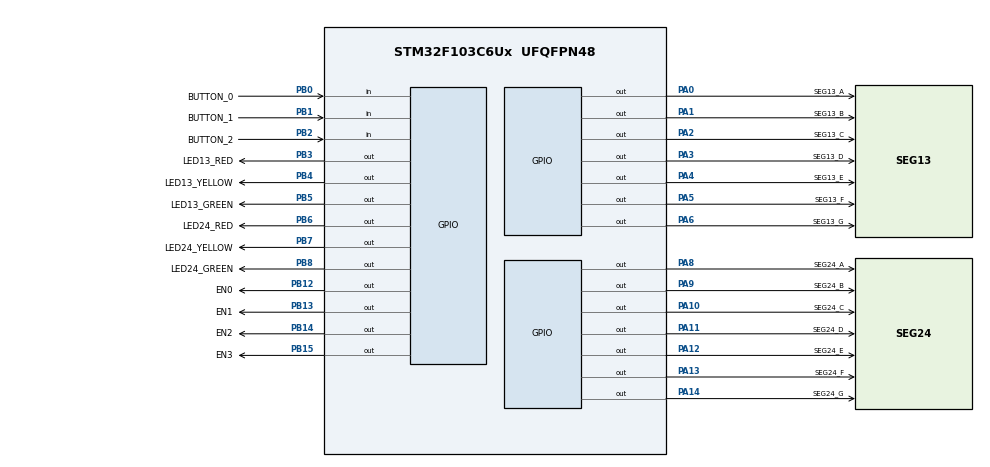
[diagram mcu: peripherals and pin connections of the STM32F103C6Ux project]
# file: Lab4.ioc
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Mcu.Family=STM32F1
Mcu.Name=STM32F103C6Ux
Mcu.Package=UFQFPN48
NVIC.PriorityGroup=NVIC_PRIORITYGROUP_4
NVIC.TIM2_IRQn=true\:0\:0\:false\:false\:true\:true\:true\:true
PA0-WKUP.GPIO_Label=SEG13_A
PA0-WKUP.Signal=GPIO_Output
PA1.GPIO_Label=SEG13_B
PA1.Signal=GPIO_Output
PA10.GPIO_Label=SEG24_C
PA10.Signal=GPIO_Output
PA11.GPIO_Label=SEG24_D
PA11.Signal=GPIO_Output
PA12.GPIO_Label=SEG24_E
PA12.Signal=GPIO_Output
PA13.GPIO_Label=SEG24_F
PA13.Signal=GPIO_Output
PA14.GPIO_Label=SEG24_G
PA14.Signal=GPIO_Output
PA2.GPIO_Label=SEG13_C
PA2.Signal=GPIO_Output
PA3.GPIO_Label=SEG13_D
PA3.Signal=GPIO_Output
PA4.GPIO_Label=SEG13_E
PA4.Signal=GPIO_Output
PA5.GPIO_Label=SEG13_F
PA5.Signal=GPIO_Output
PA6.GPIO_Label=SEG13_G
PA6.Signal=GPIO_Output
PA8.GPIO_Label=SEG24_A
PA8.Signal=GPIO_Output
PA9.GPIO_Label=SEG24_B
PA9.Signal=GPIO_Output
PB0.GPIO_Label=BUTTON_0
PB0.Signal=GPIO_Input
PB1.GPIO_Label=BUTTON_1
PB1.Signal=GPIO_Input
PB12.GPIO_Label=EN0
PB12.Signal=GPIO_Output
PB13.GPIO_Label=EN1
PB13.Signal=GPIO_Output
PB14.GPIO_Label=EN2
PB14.Signal=GPIO_Output
PB15.GPIO_Label=EN3
PB15.Signal=GPIO_Output
PB2.GPIO_Label=BUTTON_2
PB2.Signal=GPIO_Input
PB3.GPIO_Label=LED13_RED
PB3.Signal=GPIO_Output
PB4.GPIO_Label=LED13_YELLOW
PB4.Signal=GPIO_Output
PB5.GPIO_Label=LED13_GREEN
PB5.Signal=GPIO_Output
PB6.GPIO_Label=LED24_RED
PB6.Signal=GPIO_Output
PB7.GPIO_Label=LED24_YELLOW
PB7.Signal=GPIO_Output
PB8.GPIO_Label=LED24_GREEN
PB8.Signal=GPIO_Output
ProjectManager.HeapSize=0x200
ProjectManager.StackSize=0x400
ProjectManager.TargetToolchain=STM32CubeIDE
RCC.APB1Freq_Value=8000000
RCC.APB2Freq_Value=8000000
TIM2.Period=9
TIM2.Prescaler=7999
VP_SYS_VS_ND.Mode=No_Debug
VP_TIM2_VS_ClockSourceINT.Mode=Internal
board=custom

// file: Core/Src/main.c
/* USER CODE BEGIN Header */
/**
  ******************************************************************************
  * @file           : main.c
  * @brief          : Main program body
  ******************************************************************************
  * @attention
  *
  * Copyright (c) 2024 STMicroelectronics.
  * All rights reserved.
  *
  * This software is licensed under terms that can be found in the LICENSE file
  * in the root directory of this software component.
  * If no LICENSE file comes with this software, it is provided AS-IS.
  *
  ******************************************************************************
  */
/* USER CODE END Header */
#include "main.h"

/* USER CODE BEGIN Includes */
#include "7Seg.h"
#include "Traffic.h"
#include "schedule.h"
#include "input_reading.h"
#include "input_processing.h"
#include "fsm.h"
/* USER CODE END Includes */

TIM_HandleTypeDef htim2;

void SystemClock_Config(void);
static void MX_GPIO_Init(void);
static void MX_TIM2_Init(void);
/* USER CODE BEGIN PFP */
void HAL_TIM_PeriodElapsedCallback(TIM_HandleTypeDef *htim);
/* USER CODE END PFP */

/* USER CODE BEGIN 0 */
void HAL_TIM_PeriodElapsedCallback(TIM_HandleTypeDef *htim){
	button_reading();
	runTimer();
	SCH_Update();
}
/* USER CODE END 0 */

int main(void)
{

  /* MCU Configuration--------------------------------------------------------*/

  /* Reset of all peripherals, Initializes the Flash interface and the Systick. */
  HAL_Init();

  /* Configure the system clock */
  SystemClock_Config();

  /* Initialize all configured peripherals */
  MX_GPIO_Init();
  MX_TIM2_Init();

  /* Infinite loop */
  /* USER CODE BEGIN WHILE */
  //__HAL_RCC_GPIOB_CLK_ENABLE();

  setEnviromentState0();
  SCH_Init();

  //SCH_Add_Task(fsm_for_input_processing, 0, 10, 0);
  SCH_Add_Task(run7Seg, 0, 250, 0);

  //SCH_Add_Task(runLed, 0, 500, 0);
  //SCH_Add_Task(run7Seg, 0, 500, 0);
  SCH_Add_Task(runTime, 0, 1000, 0);
  SCH_Add_Task(runTraffic, 1000, 1000, 0);

  //SCH_Add_Task(fsm_automatic, 0, 100, 0);
  //SCH_Add_Task(fsm_manual, 0, 100, 0);

  //SCH_Add_Task(runBlinkingLed, 0, 100, 0);
  //SCH_Add_Task(fsm_setting, 0, 10, 0);
  //get_List();

  HAL_TIM_Base_Start_IT(&htim2);
  while (1)
  {
	 fsm_for_input_processing();
	 fsm_automatic();
	 fsm_manual();
	 runBlinkingLed();
	 SCH_Dispatch_Task();
    /* USER CODE END WHILE */

  }
}

void SystemClock_Config(void)
{
  RCC_OscInitTypeDef RCC_OscInitStruct = {0};
  RCC_ClkInitTypeDef RCC_ClkInitStruct = {0};

  /** Initializes the RCC Oscillators according to the specified parameters
  * in the RCC_OscInitTypeDef structure.
  */
  RCC_OscInitStruct.OscillatorType = RCC_OSCILLATORTYPE_HSI;
  RCC_OscInitStruct.HSIState = RCC_HSI_ON;
  RCC_OscInitStruct.HSICalibrationValue = RCC_HSICALIBRATION_DEFAULT;
  RCC_OscInitStruct.PLL.PLLState = RCC_PLL_NONE;
  if (HAL_RCC_OscConfig(&RCC_OscInitStruct) != HAL_OK)
  {
    Error_Handler();
  }

  /** Initializes the CPU, AHB and APB buses clocks
  */
  RCC_ClkInitStruct.ClockType = RCC_CLOCKTYPE_HCLK|RCC_CLOCKTYPE_SYSCLK
                              |RCC_CLOCKTYPE_PCLK1|RCC_CLOCKTYPE_PCLK2;
  RCC_ClkInitStruct.SYSCLKSource = RCC_SYSCLKSOURCE_HSI;
  RCC_ClkInitStruct.AHBCLKDivider = RCC_SYSCLK_DIV1;
  RCC_ClkInitStruct.APB1CLKDivider = RCC_HCLK_DIV1;
  RCC_ClkInitStruct.APB2CLKDivider = RCC_HCLK_DIV1;

  if (HAL_RCC_ClockConfig(&RCC_ClkInitStruct, FLASH_LATENCY_0) != HAL_OK)
  {
    Error_Handler();
  }
}

static void MX_TIM2_Init(void)
{

  TIM_ClockConfigTypeDef sClockSourceConfig = {0};
  TIM_MasterConfigTypeDef sMasterConfig = {0};

  htim2.Instance = TIM2;
  htim2.Init.Prescaler = 7999;
  htim2.Init.CounterMode = TIM_COUNTERMODE_UP;
  htim2.Init.Period = 9;
  htim2.Init.ClockDivision = TIM_CLOCKDIVISION_DIV1;
  htim2.Init.AutoReloadPreload = TIM_AUTORELOAD_PRELOAD_DISABLE;
  if (HAL_TIM_Base_Init(&htim2) != HAL_OK)
  {
    Error_Handler();
  }
  sClockSourceConfig.ClockSource = TIM_CLOCKSOURCE_INTERNAL;
  if (HAL_TIM_ConfigClockSource(&htim2, &sClockSourceConfig) != HAL_OK)
  {
    Error_Handler();
  }
  sMasterConfig.MasterOutputTrigger = TIM_TRGO_RESET;
  sMasterConfig.MasterSlaveMode = TIM_MASTERSLAVEMODE_DISABLE;
  if (HAL_TIMEx_MasterConfigSynchronization(&htim2, &sMasterConfig) != HAL_OK)
  {
    Error_Handler();
  }

}

static void MX_GPIO_Init(void)
{
  GPIO_InitTypeDef GPIO_InitStruct = {0};

  /* GPIO Ports Clock Enable */
  __HAL_RCC_GPIOA_CLK_ENABLE();
  __HAL_RCC_GPIOB_CLK_ENABLE();

  /*Configure GPIO pin Output Level */
  HAL_GPIO_WritePin(GPIOA, SEG13_A_Pin|SEG13_B_Pin|SEG13_C_Pin|SEG13_D_Pin
                          |SEG13_E_Pin|SEG13_F_Pin|SEG13_G_Pin|SEG24_A_Pin
                          |SEG24_B_Pin|SEG24_C_Pin|SEG24_D_Pin|SEG24_E_Pin
                          |SEG24_F_Pin|SEG24_G_Pin, GPIO_PIN_RESET);

  /*Configure GPIO pin Output Level */
  HAL_GPIO_WritePin(GPIOB, EN0_Pin|EN1_Pin|EN2_Pin|EN3_Pin
                          |LED13_RED_Pin|LED13_YELLOW_Pin|LED13_GREEN_Pin|LED24_RED_Pin
                          |LED24_YELLOW_Pin|LED24_GREEN_Pin, GPIO_PIN_RESET);

  /*Configure GPIO pins : SEG13_A_Pin SEG13_B_Pin SEG13_C_Pin SEG13_D_Pin
                           SEG13_E_Pin SEG13_F_Pin SEG13_G_Pin SEG24_A_Pin
                           SEG24_B_Pin SEG24_C_Pin SEG24_D_Pin SEG24_E_Pin
                           SEG24_F_Pin SEG24_G_Pin */
  GPIO_InitStruct.Pin = SEG13_A_Pin|SEG13_B_Pin|SEG13_C_Pin|SEG13_D_Pin
                          |SEG13_E_Pin|SEG13_F_Pin|SEG13_G_Pin|SEG24_A_Pin
                          |SEG24_B_Pin|SEG24_C_Pin|SEG24_D_Pin|SEG24_E_Pin
                          |SEG24_F_Pin|SEG24_G_Pin;
  GPIO_InitStruct.Mode = GPIO_MODE_OUTPUT_PP;
  GPIO_InitStruct.Pull = GPIO_NOPULL;
  GPIO_InitStruct.Speed = GPIO_SPEED_FREQ_LOW;
  HAL_GPIO_Init(GPIOA, &GPIO_InitStruct);

  /*Configure GPIO pins : BUTTON_0_Pin BUTTON_1_Pin BUTTON_2_Pin */
  GPIO_InitStruct.Pin = BUTTON_0_Pin|BUTTON_1_Pin|BUTTON_2_Pin;
  GPIO_InitStruct.Mode = GPIO_MODE_INPUT;
  GPIO_InitStruct.Pull = GPIO_NOPULL;
  HAL_GPIO_Init(GPIOB, &GPIO_InitStruct);

  /*Configure GPIO pins : EN0_Pin EN1_Pin EN2_Pin EN3_Pin
                           LED13_RED_Pin LED13_YELLOW_Pin LED13_GREEN_Pin LED24_RED_Pin
                           LED24_YELLOW_Pin LED24_GREEN_Pin */
  GPIO_InitStruct.Pin = EN0_Pin|EN1_Pin|EN2_Pin|EN3_Pin
                          |LED13_RED_Pin|LED13_YELLOW_Pin|LED13_GREEN_Pin|LED24_RED_Pin
                          |LED24_YELLOW_Pin|LED24_GREEN_Pin;
  GPIO_InitStruct.Mode = GPIO_MODE_OUTPUT_PP;
  GPIO_InitStruct.Pull = GPIO_NOPULL;
  GPIO_InitStruct.Speed = GPIO_SPEED_FREQ_LOW;
  HAL_GPIO_Init(GPIOB, &GPIO_InitStruct);

}

void Error_Handler(void)
{
  __disable_irq();
  while (1)
  {
  }
}
